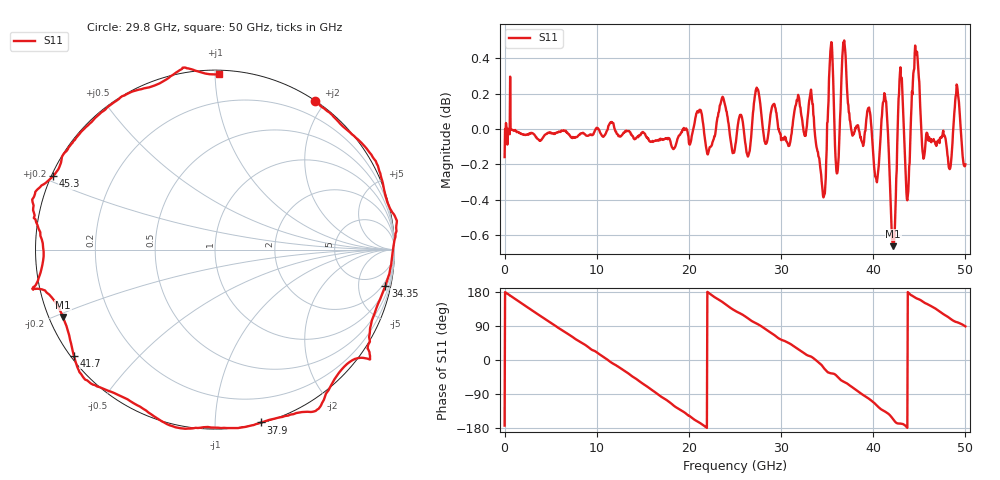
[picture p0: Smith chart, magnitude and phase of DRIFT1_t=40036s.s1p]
!Created with skrf (http://scikit-rf.org).
# Hz S RI R 50.0
!freq ReS11 ImS11
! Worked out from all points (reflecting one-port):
!   1001 points, 300 kHz to 50 GHz, reference 50 ohm
!   lowest |S11| = -0.7 dB at 42.15 GHz (marker M1), VSWR 26.21, Z = 1.99 - j10.6 ohm
!   phase of S11 starts at -173 deg and turns -818 deg over the sweep
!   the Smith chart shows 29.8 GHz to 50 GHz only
!   S11 on the Smith chart (normalised r, x): 29.8 GHz: 0.00, +1.87; 34.35 GHz: 1.34, -9.34; 37.9 GHz: 0.00, -1.30; 41.7 GHz: 0.01, -0.33; 45.3 GHz: 0.01, +0.22; 50 GHz: 0.02, +1.02
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300000  -0.9749 -0.1171
1.450291e9  -0.9125 0.4045
3.25028e9  -0.5924 0.8009
6.250262e9  0.2008 0.9786
9.500243e9  0.8917 0.4441
1.250022e10  0.9321 -0.3485
1.580021e10  0.2401 -0.9623
1.73502e10  -0.2091 -0.9712
1.875019e10  -0.5971 -0.794
2.150017e10  -0.9928 -0.156
2.345016e10  -0.929 0.4138
2.500015e10  -0.6343 0.7573
2.740014e10  -0.0974 1.022
2.980012e10  0.5553 0.8297
3.125011e10  0.7854 0.6226
3.31001e10  1.004 0.1826
3.435009e10  0.9496 -0.2014
3.520009e10  0.8608 -0.5717
3.750008e10  0.3751 -0.9324
3.790007e10  0.2573 -0.963
3.960006e10  -0.2349 -0.9844
4.170005e10  -0.7863 -0.5906
4.215005e10  -0.8467 -0.3761
4.290004e10  -1.013 -0.2235
4.375004e10  -0.9576 0.0111
4.530003e10  -0.9007 0.4096
4.770001e10  -0.4941 0.8649
5e10  0.0217 0.977
